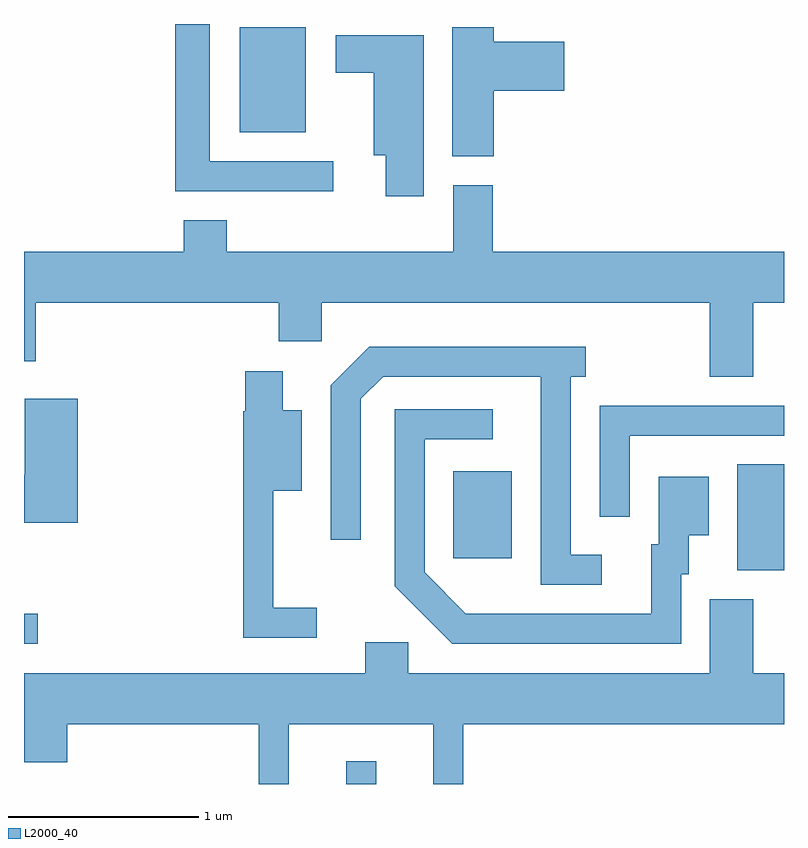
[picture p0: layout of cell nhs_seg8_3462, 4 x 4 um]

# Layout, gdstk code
import gdstk
lib = gdstk.Library(unit=1e-6, precision=1e-09)
def R(c, l, rs):  # rectangles x0, y0, x1, y1
    for r in rs: c.add(gdstk.rectangle(r[:2], r[2:], *l))
def P(c, l, *ps):  # polygons
    for p in ps: c.add(gdstk.Polygon(p, *l))
L2000_40 = (2000, 40)

nhs_seg8_3462 = lib.new_cell('nhs_seg8_3462')
R(nhs_seg8_3462, L2000_40, [(291.306,1818.342,291.464,1818.463), (289.611,1819.081,289.683,1819.239), (293.366,1819.466,293.611,1820.024), (291.871,1819.531,292.179,1819.989), (290.746,1821.771,291.094,1822.324)])
P(nhs_seg8_3462, L2000_40, [(291.238,1821.619),(290.589,1821.619),(290.589,1822.342),(290.406,1822.342),(290.406,1821.461),(291.238,1821.461)],
  [(292.084,1821.991),(292.454,1821.991),(292.454,1822.249),(292.084,1822.249),(292.084,1822.324),(291.866,1822.324),(291.866,1821.646),(292.084,1821.646)],
  [(291.714,1822.284),(291.251,1822.284),(291.251,1822.086),(291.451,1822.086),(291.451,1821.651),(291.516,1821.651),(291.516,1821.436),(291.714,1821.436)],
  [(290.679,1821.309),(290.451,1821.309),(290.451,1821.144),(289.611,1821.144),(289.611,1820.566),(289.674,1820.566),(289.674,1820.876),(290.951,1820.876),(290.951,1820.671),(291.179,1820.671),(291.179,1820.876),(293.221,1820.876),(293.221,1820.486),(293.449,1820.486),(293.449,1820.876),(293.611,1820.876),(293.611,1821.144),(292.079,1821.144),(292.079,1821.494),(291.871,1821.494),(291.871,1821.144),(290.679,1821.144)],
  [(292.653,1819.549),(292.489,1819.549),(292.489,1820.486),(292.568,1820.486),(292.568,1820.644),(291.429,1820.644),(291.226,1820.442),(291.226,1819.628),(291.384,1819.628),(291.384,1820.369),(291.502,1820.486),(292.331,1820.486),(292.331,1819.391),(292.653,1819.391)],
  [(291.153,1819.269),(290.924,1819.269),(290.924,1819.886),(291.074,1819.886),(291.074,1820.309),(290.974,1820.309),(290.974,1820.514),(290.776,1820.514),(290.776,1820.305),(290.766,1820.305),(290.766,1819.111),(291.153,1819.111)],
  [(289.894,1820.369),(289.616,1820.369),(289.616,1819.969),(289.611,1819.969),(289.611,1819.716),(289.894,1819.716)],
  [(292.799,1820.176),(293.611,1820.176),(293.611,1820.334),(292.641,1820.334),(292.641,1819.748),(292.799,1819.748)],
  [(293.069,1819.446),(293.109,1819.446),(293.109,1819.651),(293.214,1819.651),(293.214,1819.959),(292.951,1819.959),(292.951,1819.604),(292.911,1819.604),(292.911,1819.239),(291.937,1819.239),(291.719,1819.457),(291.719,1820.156),(292.078,1820.156),(292.078,1820.314),(291.561,1820.314),(291.561,1819.384),(291.864,1819.081),(293.069,1819.081)],
  [(291.004,1818.656),(291.766,1818.656),(291.766,1818.342),(291.924,1818.342),(291.924,1818.656),(293.611,1818.656),(293.611,1818.924),(293.449,1818.924),(293.449,1819.314),(293.221,1819.314),(293.221,1818.924),(291.634,1818.924),(291.634,1819.089),(291.406,1819.089),(291.406,1818.924),(289.611,1818.924),(289.611,1818.456),(289.839,1818.456),(289.839,1818.656),(290.846,1818.656),(290.846,1818.342),(291.004,1818.342)])

lib.write_gds('nhs_seg8_3462.gds')
